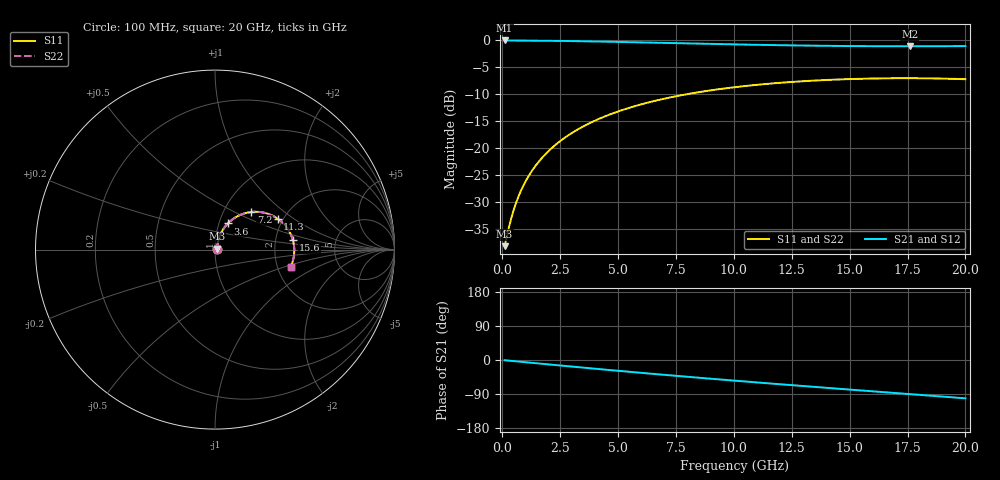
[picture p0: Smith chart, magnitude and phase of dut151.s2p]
! Touchstone file exported from HFSS 2026.1.0
!  File:  C:/ffzhzh/LocalFiles/Ansys_Project_Files/temp_train_TSV_RDL_151_1783052182_17544.aedt
!  Generated:  12:33:19 PM Jul  3, 2026
!  Design:  TSV_RDL
!  Project:  temp_train_TSV_RDL_151_1783052182_17544
! Variables:
!  h_bsmrdl = 3.84um
!  h_ox = 20um
!  h_rdl = 5um
!  h_sub = 96.98um
!  h_tmrdl = 3.21um
!  h_tsv = 96.98um
!  h_via = 3um
!  l_bsmrdl = 121.49um
!  l_sub = 1399.08um
!  l_tmrdl = 115.34um
!  m_sub = 200um
!  pitch = 44.95um
!  r_tsv = 3.18um
!  s_tmrdl = 10um
!  w_bsmrdl = 28.45um
!  w_sub = 500um
!  w_tmrdl = 29.3um
!  x_tsv_center1 = 129.99um
!  x_tsv_center2 = 279.93um
!  x_tsv_center3 = 424.57um
!  x_tsv_center4 = 574.51um
!  x_tsv_center5 = 719.15um
!  x_tsv_center6 = 869.09um
# GHz S MA R 50.000000
! Terminal data exported
! Port[1] = TM_RDL1_1_T1
! Port[2] = TM_RDL5_1_T1
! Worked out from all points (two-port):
!   200 points, 100 MHz to 20 GHz, reference 50 ohm
!   highest |S21| = -0.10 dB at 100 MHz (marker M1); lowest = -1.2 dB at 17.6 GHz (marker M2)
!   |S21| within 3 dB of the highest: start of sweep to end of sweep
!   lowest |S11| = -38.2 dB at 100 MHz (marker M3), VSWR 1.02, Z = 51.1 + j0.508 ohm
!   |S11| at or under -10 dB: start of sweep to 8.049 GHz
!   |S22| runs from -38.2 to -7.1 dB; largest |S21 - S12| = 6.3e-15
!   S11 on the Smith chart (normalised r, x): 100 MHz: 1.02, +0.01; 3.6 GHz: 1.10, +0.33; 7.2 GHz: 1.35, +0.62; 11.3 GHz: 1.87, +0.76; 15.6 GHz: 2.50, +0.32; 20 GHz: 2.37, -0.55
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0.1  0.01227 23.9  0.9888 -0.6  0.9888 -0.6  0.01227 23.9
! Gamma 0 0 0 0
! Port Impedance 50 0 50 0
0.3  0.01883 49.7  0.9882 -1.8  0.9882 -1.8  0.01883 49.7
0.4  0.02276 56.0  0.9879 -2.4  0.9879 -2.4  0.02276 56.0
0.6  0.0311 63.3  0.9874 -3.5  0.9874 -3.5  0.0311 63.3
0.9  0.04421 68.3  0.9867 -5.3  0.9867 -5.3  0.04421 68.3
1.2  0.05761 70.2  0.9858 -7.0  0.9858 -7.0  0.05761 70.2
1.7  0.08007 70.7  0.9838 -9.9  0.9838 -9.9  0.08007 70.7
2.2  0.1023 69.6  0.9812 -12.8  0.9812 -12.8  0.1023 69.6
2.8  0.1286 67.4  0.9775 -16.2  0.9775 -16.2  0.1286 67.4
3.5  0.1582 64.3  0.9723 -20.2  0.9723 -20.2  0.1582 64.3
3.6  0.1623 63.8  0.9715 -20.8  0.9715 -20.8  0.1623 63.8
5  0.2173 57.0  0.9589 -28.5  0.9589 -28.5  0.2173 57.0
6.8  0.2793 47.9  0.9407 -38.1  0.9407 -38.1  0.2793 47.9
7.2  0.2917 46.0  0.9366 -40.2  0.9366 -40.2  0.2917 45.9
8.6  0.331 39.1  0.9225 -47.4  0.9225 -47.4  0.331 39.1
10.1  0.3661 31.9  0.9084 -54.9  0.9084 -54.9  0.3661 31.9
11.3  0.3892 26.3  0.8984 -60.7  0.8984 -60.7  0.3892 26.3
13.4  0.4193 16.7  0.8846 -70.6  0.8846 -70.6  0.4193 16.7
15.6  0.4372 6.9  0.8758 -80.8  0.8758 -80.8  0.4372 6.9
16.7  0.4411 2.0  0.8738 -85.9  0.8738 -85.9  0.4411 2.0
17.6  0.4418 -2.0  0.8733 -90.0  0.8733 -90.0  0.4418 -2.0
20  0.4326 -12.6  0.8772 -101.1  0.8772 -101.1  0.4327 -12.7
